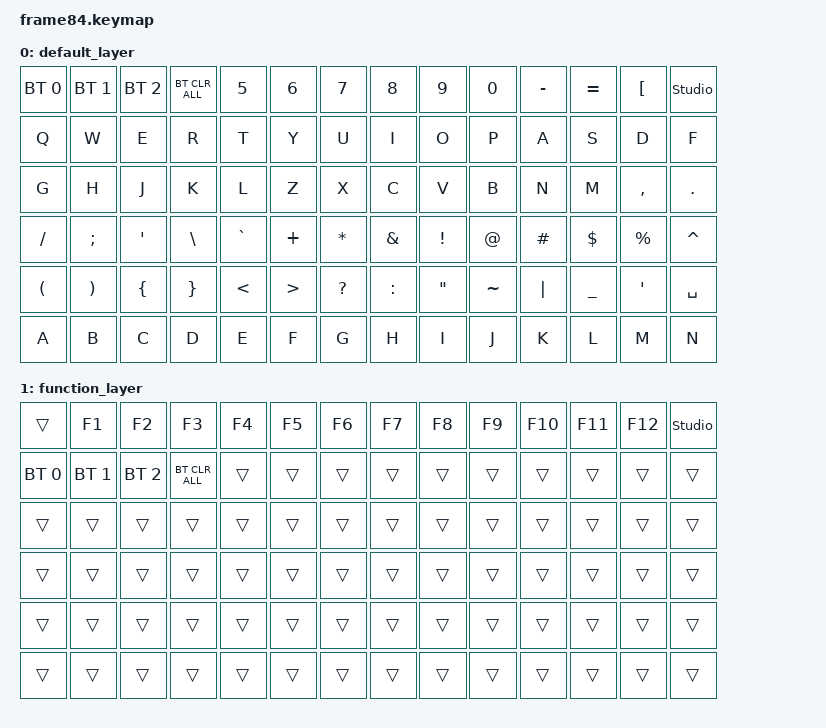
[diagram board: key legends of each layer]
// This file was generated from a template. Edit it to match your keyboard.
// See https://zmk.dev/docs/development/hardware-integration/new-shield for more instructions.

#include <behaviors.dtsi>
#include <dt-bindings/zmk/keys.h>
#include <dt-bindings/zmk/bt.h>

/ {
    keymap {
        compatible = "zmk,keymap";

        default_layer {
            bindings = <
                &bt BT_SEL 0 &bt BT_SEL 1 &bt BT_SEL 2 &bt BT_CLR_ALL &kp N5   &kp N6   &kp N7   &kp N8   &kp N9    &kp N0    &kp MINUS &kp EQUAL &kp LBKT  &studio_unlock
                &kp Q     &kp W     &kp E     &kp R    &kp T    &kp Y    &kp U    &kp I    &kp O     &kp P     &kp A     &kp S     &kp D     &kp F
                &kp G     &kp H     &kp J     &kp K    &kp L    &kp Z    &kp X    &kp C    &kp V     &kp B     &kp N     &kp M     &kp COMMA &kp DOT
                &kp FSLH  &kp SEMI  &kp APOS  &kp BSLH &kp GRAVE &kp PLUS &kp STAR &kp AMPS &kp EXCL  &kp AT    &kp HASH  &kp DLLR  &kp PRCNT &kp CARET
                &kp LPAR  &kp RPAR  &kp LBRC  &kp RBRC &kp LT   &kp GT   &kp QMARK &kp COLON &kp DQT  &kp TILDE &kp PIPE  &kp UNDER &kp SQT   &kp SPACE
                &kp A     &kp B     &kp C     &kp D    &kp E    &kp F    &kp G    &kp H    &kp I     &kp J     &kp K     &kp L     &kp M     &kp N
            >;
        };

        function_layer {
            bindings = <
                &trans       &kp F1    &kp F2    &kp F3      &kp F4      &kp F5      &kp F6      &kp F7      &kp F8      &kp F9      &kp F10     &kp F11     &kp F12     &studio_unlock
                &bt BT_SEL 0 &bt BT_SEL 1 &bt BT_SEL 2 &bt BT_CLR_ALL &trans &trans &trans &trans &trans &trans &trans &trans &trans &trans
                &trans       &trans    &trans    &trans      &trans      &trans      &trans      &trans      &trans      &trans      &trans      &trans      &trans      &trans
                &trans       &trans    &trans    &trans      &trans      &trans      &trans      &trans      &trans      &trans      &trans      &trans      &trans      &trans
                &trans       &trans    &trans    &trans      &trans      &trans      &trans      &trans      &trans      &trans      &trans      &trans      &trans      &trans
                &trans       &trans    &trans    &trans      &trans      &trans      &trans      &trans      &trans      &trans      &trans      &trans      &trans      &trans
            >;
        };
    };
};
